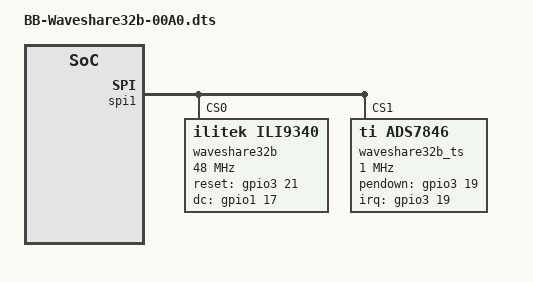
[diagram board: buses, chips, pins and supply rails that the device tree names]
/*
 * Device Tree overlay for waveshare 3.2inch TFT LCD
 *
 * @author: Alex Rau (rau.alex@gmail.com)
 *
 */

/dts-v1/;
/plugin/;

#include <dt-bindings/board/am335x-bbw-bbb-base.h>
#include <dt-bindings/pinctrl/am33xx.h>

/ {
        compatible = "ti,beaglebone", "ti,beaglebone-black";

        part-number = "BB-Waveshare32b";
        version = "00A0";

        exclusive-use =
                "P9.28",
                "P9.29", "P9.30","P9.31", "P9.30", "P9.23", "P9.25", "P9.27",
                "spi1", "gpio1_17", "gpio3_21", "gpio3_19";

        fragment@0 {
                target = <&am33xx_pinmux>;
                __overlay__ {
                        waveshare32b_pins: pinmux_waveshare32b_pins {
                                pinctrl-single,pins = <
                                        BONE_P9_28 (PIN_OUTPUT | MUX_MODE3) //SPI1_CS0
                                        BONE_P9_42A (PIN_OUTPUT | MUX_MODE2) //SPI1_CS1
                                        BONE_P9_30 (PIN_OUTPUT | MUX_MODE3) //SPI1_D1
                                        BONE_P9_29 (PIN_INPUT_PULLDOWN | MUX_MODE3)  //SPI1_D0
                                        BONE_P9_31 (PIN_INPUT | MUX_MODE3)  //SPI1_SCLK
                                        BONE_P9_23 (PIN_OUTPUT | MUX_MODE7) // Direct Command for TFT
                                        BONE_P9_25 (PIN_OUTPUT | MUX_MODE7) // Reset TFT
                                        BONE_P9_27 (PIN_INPUT_PULLUP | MUX_MODE7) // Touch interrupt from TFT
                                >;
                        };
                };
        };

        fragment@1 {
                target = <&spi1>;
                __overlay__ {
                        status = "okay";

                        spidev@0{
                                status = "disabled";
                        };

                        spidev@1{
                                status = "disabled";
                        };
                };
        };

        fragment@2 {
                target = <&spi1>;
                __overlay__ {
                        #address-cells = <1>;
                        #size-cells = <0>;

                                pinctrl-names = "default";
                                pinctrl-0 = <&waveshare32b_pins>;

                        waveshare32b: waveshare32b@0{
                                compatible = "ilitek,ili9340";
                                reg = <0>;
                                 spi-max-frequency = <48000000>;
                                txbuflen = <32768>;
                                rotate = <90>;
                                fps = <60>;
                                bgr = <1>;
                                buswidth = <8>;
                                reset-gpios = <&gpio3 21 0>;
                                dc-gpios = <&gpio1 17 0>;
                                debug = <3>;
                        };

                        waveshare32b_ts: waveshare32b-ts@1 {
                                compatible = "ti,ads7846";
                                reg = <1>;

                                spi-max-frequency = <1000000>;
                                interrupts = <19 0>;
                                interrupt-parent = <&gpio3>;
                                pendown-gpio = <&gpio3 19 0>;
                                ti,x-min = /bits/ 16 <0>;
                                ti,y-min = /bits/ 16 <0>;
                                ti,x-max = /bits/ 16 <0x0FFF>;
                                ti,y-max = /bits/ 16 <0x0FFF>;
                                ti,pressure-min = /bits/ 16 <0>;
                                ti,pressure-max = /bits/ 16 <0xFFFF>;
                                ti,x-plate-ohms = /bits/ 16 <60>;
                                wakeup-source;
                                verbose = <1>;
                        };
                };
        };

        __overrides__ {
                speed =         <&waveshare32b>,"spi-max-frequency:0";
                txbuflen =      <&waveshare32b>,"txbuflen:0";
                rotate =        <&waveshare32b>,"rotate:0";
                fps =           <&waveshare32b>,"fps:0";
                bgr =           <&waveshare32b>,"bgr:0";
                debug =         <&waveshare32b>,"debug:0";
                swapxy =        <&waveshare32b_ts>,"swap-xy?";
        };

};
                                                 
